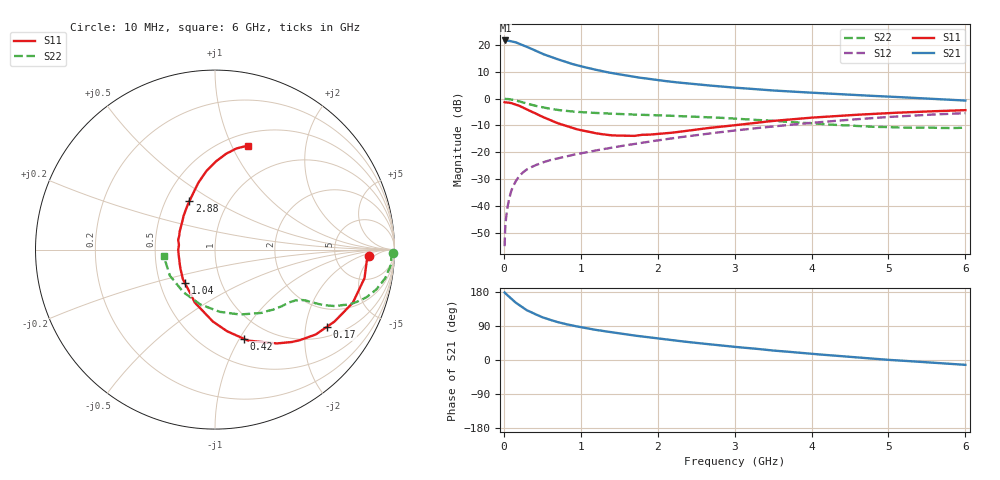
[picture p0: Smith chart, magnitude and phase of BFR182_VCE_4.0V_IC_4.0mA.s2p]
! Infineon Technologies  Discrete & RF Semiconductors
! BFR182
! VCE =  4.0 V,  IC =  4.0 mA
! Common Emitter S-Parameters:  Nov 2015
# GHz  S  MA  R  50
!  f  S11  S21  S12  S22
! GHz  MAG  ANG  MAG  ANG  MAG  ANG  MAG  ANG
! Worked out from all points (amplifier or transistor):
!   210 points, 10 MHz to 6 GHz, reference 50 ohm
!   highest |S21| = 21.6 dB at 20 MHz (marker M1)
!   |S21| within 3 dB of that: start of sweep to 349.8 MHz
!   unconditionally stable (mu >= 1): 1.19 GHz to 2.926 GHz
!   at 185 MHz: K = 0.28, MSG = 25.0 dB, |S12| = -29.4 dB
!   at 1.52 GHz: K = 1.05, MAG = 11.9 dB, |S12| = -17.7 dB
!   at 6 GHz: K = 0.89, MSG = 2.3 dB, |S12| = -5.4 dB
!   S11 on the Smith chart (normalised r, x): 10 MHz: 12, -3; 170 MHz: 1.30, -2.63; 420 MHz: 0.76, -1.04; 1.04 GHz: 0.67, -0.27; 2.88 GHz: 0.66, +0.39; 6 GHz: 0.63, +1.16
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0.01  0.8576 -2.2  11.96 178.1  0.0018 85.8  0.9928 -1.0
0.02  0.848 -4.2  12.04 175.9  0.0044 84.7  0.9833 -2.0
0.05  0.848 -10.8  12 170.5  0.0099 83.9  0.9836 -5.0
0.1  0.8231 -21.1  11.58 161.7  0.0198 78.2  0.9613 -9.6
0.15  0.7769 -31.1  11.19 152.0  0.0282 73.1  0.9254 -13.9
0.17  0.7576 -34.6  10.88 149.2  0.0313 71.8  0.91 -15.2
0.24  0.6913 -46.9  9.913 139.1  0.0412 66.7  0.8567 -19.3
0.3  0.6262 -56.6  9.183 131.1  0.0482 64.1  0.8077 -22.2
0.42  0.5218 -72.1  7.682 119.9  0.0583 59.8  0.7288 -25.5
0.5  0.4597 -81.6  6.801 112.8  0.0645 58.4  0.6882 -26.8
0.6  0.4008 -91.7  6.037 106.0  0.0715 57.7  0.6477 -27.8
0.7  0.3488 -101.3  5.386 100.0  0.0772 57.7  0.6147 -28.5
0.84  0.3009 -114.0  4.63 93.2  0.086 57.5  0.5842 -29.2
1.02  0.2548 -129.7  3.929 85.9  0.0967 58.4  0.5577 -30.2
1.04  0.2514 -131.6  3.868 85.2  0.098 58.5  0.5554 -30.4
1.4  0.2072 -163.5  2.984 73.1  0.1216 59.7  0.5239 -33.2
2.02  0.2216 152.3  2.185 56.4  0.1685 59.9  0.4884 -40.2
2.88  0.3055 117.8  1.65 37.3  0.2431 56.2  0.434 -54.5
3.1  0.3312 112.2  1.558 32.9  0.264 54.5  0.415 -59.2
4.1  0.4512 94.6  1.262 14.7  0.3633 45.3  0.3386 -89.1
5.1  0.5448 82.3  1.071 -0.8  0.4632 33.1  0.2906 -131.1
6  0.6087 72.3  0.918 -12.8  0.5356 20.1  0.2875 -172.6
